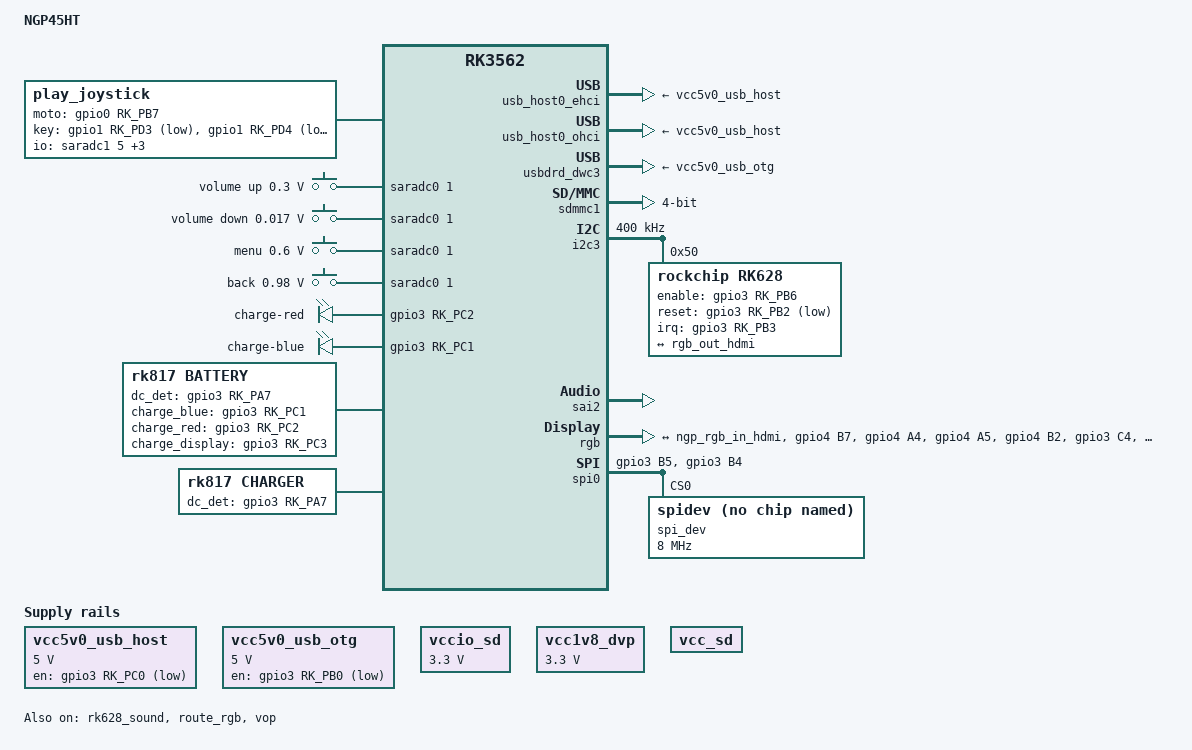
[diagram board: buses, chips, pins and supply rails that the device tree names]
// SPDX-License-Identifier: (GPL-2.0+ OR MIT)
/*
 * dArkOS for the NGP45HT — Rockchip RK3562 handheld
 *
 * Same SoC, same RK3562 EVB1 LP4X ancestry and the same byte-identical DSI
 * panel init sequence as the AISLPC RG43H Pro, so this file is modelled on
 * rk3562-rg43h.dts.  Differences that matter, all measured from the stock
 * firmware's live device tree:
 *
 *   - Panel timing is 1024x768 @ ~60 Hz (RG43H Pro runs ~70 Hz).
 *   - Controls: 17 GPIO buttons and sticks on &saradc1 in4..in7.  There are
 *     no analog L2/R2 and no ADC-button ladder, unlike the RG43H Pro.
 *   - Rumble is one EMA on &gpio0 RK_PB7 (RG43H Pro has two on &gpio3).
 *   - Headphone detect is &gpio0 RK_PA6 and the amplifier enable is the
 *     codec's own spk-ctl on &gpio0 RK_PA7.
 *   - WiFi is an AIC8800DC on USB, not on SDIO, so the sdmmc1 / sdio_pwrseq /
 *     wireless_wlan nodes from the shared dtsi are switched off.  Several of
 *     those pins are gamepad buttons on this board.
 *   - SD card power is an always-on rail; there is no vcc_sd GPIO.
 */

/dts-v1/;

#include <dt-bindings/input/input.h>
#include <dt-bindings/gpio/gpio.h>
#include <dt-bindings/pinctrl/rockchip.h>

#include "rk3562.dtsi"
#include "rk3562-linux.dtsi"
#include "rk3562-rk817.dtsi"
#include "rk3562-darkos.dtsi"

/ {
	model = "NGP45HT";
	compatible = "ngp45ht", "rockchip,rk3562";

	/*
	 * Node name must stay exactly "play_joystick": /usr/local/bin/buttonmon.sh
	 * resolves the event device through
	 * /dev/input/by-path/platform-play_joystick-event-joystick, which is built
	 * from this node's name.  Hyphenating it silently leaves buttonmon pointed
	 * at the wrong event node.
	 */
	play_joystick {
		compatible = "play_joystick";
		joysticks_numbers = <2>;

		/* Measured on this board, holding one stick to a single stop
	 * and reading saradc1: left stick left = ch5 at the rail, left stick
	 * up = ch4 at the rail, right stick left = ch7 at the rail.  So the
	 * X pot of each stick is on the higher channel number, the opposite
	 * of what the vendor DTB claims (it names ch4 "LX", ch6 "RX").
	 * Both X pots also run the other way round: full left is the low
	 * rail, which the driver maps to a positive axis value, hence
	 * invert-x / invert-rx.  Order below is LX, LY, RX, RY to match
	 * stick_chan_names[] = button0..button3. */
		io-channels = <&saradc1 5>, <&saradc1 4>,
			      <&saradc1 7>, <&saradc1 6>;
		io-channel-names = "button0", "button1",
				   "button2", "button3";
		invert-x;
		invert-rx;

		axis-min-value-mv = <250>;
		axis-max-value-mv = <1550>;
		axis-dead-zone-l = <790>;
		axis-dead-zone-h = <1010>;
		axis-division-value = <60>;
		poll-interval = <30>;
		debounce-interval = <100>;

		pinctrl-names = "default";
		pinctrl-0 = <&ngp_gpio_key_pin &ngp_moto_gpio>;
		moto-gpio = <&gpio0 RK_PB7 GPIO_ACTIVE_HIGH>;

		gpio-key-num = <17>;
		key-gpios = <&gpio1 RK_PD3 GPIO_ACTIVE_LOW>,
			    <&gpio1 RK_PD4 GPIO_ACTIVE_LOW>,
			    <&gpio1 RK_PD1 GPIO_ACTIVE_LOW>,
			    <&gpio1 RK_PD2 GPIO_ACTIVE_LOW>,
			    <&gpio0 RK_PC3 GPIO_ACTIVE_LOW>,
			    <&gpio0 RK_PC5 GPIO_ACTIVE_LOW>,
			    <&gpio2 RK_PA0 GPIO_ACTIVE_LOW>,
			    <&gpio2 RK_PA1 GPIO_ACTIVE_LOW>,
			    <&gpio0 RK_PB5 GPIO_ACTIVE_LOW>,
			    <&gpio0 RK_PB6 GPIO_ACTIVE_LOW>,
			    <&gpio0 RK_PB3 GPIO_ACTIVE_LOW>,
			    <&gpio0 RK_PB4 GPIO_ACTIVE_LOW>,
			    <&gpio0 RK_PA5 GPIO_ACTIVE_LOW>,
			    <&gpio3 RK_PA6 GPIO_ACTIVE_LOW>,
			    <&gpio1 RK_PC7 GPIO_ACTIVE_LOW>,
			    <&gpio0 RK_PC6 GPIO_ACTIVE_LOW>,
			    <&gpio0 RK_PC7 GPIO_ACTIVE_LOW>;

		/*
		 * One code per key-gpios entry, in the same order.
		 *
		 * Taken from ROCKNIX's rk3562-ngp45h.dts (AveyondFly/
		 * distribution_rocknix), whose sw1..sw17 list the same 17 GPIOs
		 * in the same order as the vendor micro-gamepad node.  That file
		 * labels its own map "temporary -- verify every GPIO and remap on
		 * the device", so treat this as the best available prior, not as
		 * confirmed.  Only the values below need changing if a button
		 * lands in the wrong slot; rebuilding the DTB takes seconds.
		 */
		key-gpios-map = <BTN_TR BTN_TR2 BTN_TL BTN_TL2
				 BTN_EAST BTN_SOUTH BTN_NORTH BTN_WEST
				 BTN_DPAD_LEFT BTN_DPAD_RIGHT BTN_DPAD_UP
				 BTN_DPAD_DOWN BTN_SELECT BTN_START BTN_MODE
				 BTN_THUMBL BTN_THUMBR>;
	};

	/*
	 * The shared dtsi carries no USB 5V rails, but on this board both USB
	 * ports are switched by RK817-era GPIOs, and the internal AIC8800DC
	 * hangs off the USB2 host bus -- without the host rail enabled nothing
	 * on that bus can enumerate, no matter which driver is loaded.
	 *
	 * Polarity comes from the stock firmware's live tree: the host rail's
	 * line idles high and is asserted low, so ask for an ACTIVE_LOW
	 * descriptor rather than relying on regulator-fixed's
	 * enable-active-high/low property, which only sets the initial level.
	 */
	vcc5v0_usb_host: vcc5v0-usb-host {
		compatible = "regulator-fixed";
		regulator-name = "vcc5v0_usb_host";
		regulator-min-microvolt = <5000000>;
		regulator-max-microvolt = <5000000>;
		regulator-always-on;
		regulator-boot-on;
		gpios = <&gpio3 RK_PC0 GPIO_ACTIVE_LOW>;
		pinctrl-names = "default";
		pinctrl-0 = <&usb_host_pwren>;
	};

	vcc5v0_usb_otg: vcc5v0-usb-otg {
		compatible = "regulator-fixed";
		regulator-name = "vcc5v0_usb_otg";
		regulator-min-microvolt = <5000000>;
		regulator-max-microvolt = <5000000>;
		gpios = <&gpio3 RK_PB0 GPIO_ACTIVE_HIGH>;
		pinctrl-names = "default";
		pinctrl-0 = <&usb_otg_pwren>;
	};

	/*
	 * The shared dtsi's adc_keys ladder does not match this board, which
	 * has four keys on one SARADC input.  Disabled below and re-created
	 * here with the stock thresholds and codes.
	 */
	ngp_adc_keys: adc-keys-ngp {
		compatible = "adc-keys";
		io-channels = <&saradc0 1>;
		io-channel-names = "buttons";
		keyup-threshold-microvolt = <1800000>;
		poll-interval = <100>;

		/*
		 * 这是同一根 ADC 线上的电阻梯。阈值越小离 GND 越近，
		 * 而按键在梯子上的顺序是固定的（硬件焊死的），所以
		 * 「哪个阈值对应哪个键」必须照原厂 EmuELEC 的 DTS 抄，
		 * 猜错就会 VOLUME_UP 与 VOLUME_DOWN 对调。
		 *
		 * EE 的值：vol-up 300000 / vol-down 17000。
		 * 我们之前写成 vol-up 17000 / vol-down 300000 —— 正好反了，
		 * 表现为「按加号变小声、按减号变大声」。
		 *
		 * EE:
		 *   vol-up-key   = 0x493e0 = 300000
		 *   vol-down-key = 0x04268 =  17000
		 */
		vol-up-key {
			label = "volume up";
			linux,code = <KEY_VOLUMEUP>;
			press-threshold-microvolt = <300000>;
		};

		vol-down-key {
			label = "volume down";
			linux,code = <KEY_VOLUMEDOWN>;
			press-threshold-microvolt = <17000>;
		};

		/*
		 * menu-key 发的是 KEY_MUTE(113)，不是 KEY_MENU(139)。
		 * 原厂也是 KEY_MUTE（0x71），adc-keys.kl 里再翻译成 MENU。
		 * 名字虽叫 "menu"，物理上就是机身那颗 M 键。
		 */
		menu-key {
			label = "menu";
			linux,code = <KEY_MUTE>;
			press-threshold-microvolt = <600000>;
		};

		/*
		 * back-key 发 KEY_ESC(1)，adc-keys.kl 里翻译成 BACK。
		 * 物理上是机身那颗返回键。
		 */
		back-key {
			label = "back";
			linux,code = <KEY_ESC>;
			press-threshold-microvolt = <980000>;
		};
	};

	/*
	 * 机身状态指示灯 —— 交给内核 leds-gpio 驱动管理。
	 *
	 * 为什么要在 DTS 里显式建节点，而不是让 rk817 硬件自己亮：
	 *   5.10 的 rk817 驱动完全不碰这三根脚，芯片里也没有"充电点灯"
	 *   的硬件状态机。所以灯到底亮不亮，完全取决于引脚电平由谁负责：
	 *     - 没人管 + 浮空       -> 灯不亮（删掉 pinctrl 后的表现）
	 *     - pinctrl 上拉        -> 灯常亮，息屏也亮（最初的表现）
	 *   两者都不对。正确做法是把控制权明确交给 leds-gpio，再由用户态
	 *   /vendor/bin/ngp-powerled 按充电状态点亮对应的那一颗。
	 *
	 * 默认状态 default-state = "off"：开机一瞬间到用户态接管之前，
	 * 灯是灭的，不会闪一下。
	 *
	 * GPIO_ACTIVE_HIGH：实测高电平点亮（gpio 直接拉电平验证过）。
	 * label 用 charge-red / charge-blue，用户态按名字找，别改成别的。
	 */
	ngp_status_led: ngp-status-led {
		compatible = "gpio-leds";

		charge-red {
			label = "charge-red";
			gpios = <&gpio3 RK_PC2 GPIO_ACTIVE_HIGH>;
			default-state = "off";
			linux,default-trigger = "none";
		};

		charge-blue {
			label = "charge-blue";
			gpios = <&gpio3 RK_PC1 GPIO_ACTIVE_HIGH>;
			default-state = "off";
			linux,default-trigger = "none";
		};
	};
};

/*
 * vccio_sd (RK817 LDO_REG5, 1.8-3.3 V) is the signalling rail for BOTH card
 * slots.  Leaving it variable while TF2 asks for 3.3 V lets the MMC core raise
 * the rail out from under TF1, which runs the root filesystem -- that hangs
 * boot as soon as TF2 probes.  Pin it to 3.3 V and take UHS off both slots so
 * the rail never switches.  High-speed 50 MHz is ample for ROM loading.
 */
&vccio_sd {
	regulator-min-microvolt = <3300000>;
	regulator-max-microvolt = <3300000>;
};

/*
 * Named vcc1v8_dvp here but 3.3 V always-on in the vendor tree -- the only rail
 * the two device trees disagree about, and the pads that read dead under dArkOS
 * (GPIO1_C1 upward, GPIO2_A) sit downstream of it.  Follow the vendor.
 */
&vcc1v8_dvp {
	regulator-min-microvolt = <3300000>;
	regulator-max-microvolt = <3300000>;
	regulator-always-on;
	regulator-boot-on;
};

&sdmmc0 {
	/delete-property/ sd-uhs-sdr104;
	max-frequency = <50000000>;
};

/* ---- USB ---------------------------------------------------------------- */

/*
 * The shared dtsi leaves the USB2 host controller off because the AISLPC
 * boards have nothing on it.  This board puts both the external USB port and
 * the on-board AIC8800DC on it, so it has to come back on.
 */
&usb_host0_ehci {
	status = "okay";
};

&usb_host0_ohci {
	status = "okay";
};

&u2phy_host {
	vbus-supply = <&vcc5v0_usb_host>;
};

&usb_host0_ehci {
	vbus-supply = <&vcc5v0_usb_host>;
};

&usb_host0_ohci {
	vbus-supply = <&vcc5v0_usb_host>;
};

&usbdrd_dwc3 {
	vbus-supply = <&vcc5v0_usb_otg>;
};

/* ---- Display ------------------------------------------------------------- */

/*
 * LCD power.  The shared dtsi leaves vcc3v3_lcd_n as a regulator-boot-on
 * skeleton on the same GPIO0_B0 line the panel needs.  Claiming that line with
 * the panel's enable-gpios instead (as rk3562-rg43h.dts does) leaves the
 * regulator with no consumer, and the regulator core turns it off during
 * late init -- which kills the panel ~40 s into boot.  Hand the line to the
 * regulator and let the panel hold it via power-supply, the way
 * rk3562-rg52mini.dts does.
 */
&vcc3v3_lcd_n {
	gpios = <&gpio0 RK_PB0 GPIO_ACTIVE_HIGH>;
	enable-active-high;
	pinctrl-names = "default";
	pinctrl-0 = <&ngp_lcd_pwren>;
	status = "okay";
};

&dsi_panel {
	pinctrl-names = "default";
	pinctrl-0 = <&lcd_rst_gpio>;
	power-supply = <&vcc3v3_lcd_n>;

	/* Stock delays: reset/enable 100 ms, init 120 ms, prepare 20 ms. */
	enable-delay-ms = <100>;
	reset-delay-ms = <100>;
	init-delay-ms = <120>;
	prepare-delay-ms = <20>;
	unprepare-delay-ms = <20>;
	disable-delay-ms = <20>;

	panel-init-sequence = [
		15 00 02 ee 01
		15 00 02 ea 07
		15 00 02 eb 12
		15 00 02 0a 5e
		15 00 02 13 14
		15 00 02 17 35
		15 00 02 1d 33
		15 00 02 21 01
		15 00 02 28 28
		15 00 02 29 18
		15 00 02 2a 63
		15 00 02 2f f3
		15 00 02 ee 02
		15 00 02 39 a9
		15 00 02 00 00
		15 00 02 01 0d
		15 00 02 02 12
		15 00 02 03 08
		15 00 02 04 0e
		15 00 02 05 30
		15 00 02 06 0b
		15 00 02 07 0e
		15 00 02 08 0f
		15 00 02 09 0e
		15 00 02 0a 11
		15 00 02 0b 4e
		15 00 02 0c 14
		15 00 02 0d 1a
		15 00 02 0e 2f
		15 00 02 0f 36
		15 00 02 10 3f
		15 00 02 20 00
		15 00 02 21 0d
		15 00 02 22 12
		15 00 02 23 08
		15 00 02 24 0e
		15 00 02 25 30
		15 00 02 26 0b
		15 00 02 27 0e
		15 00 02 28 0f
		15 00 02 29 0e
		15 00 02 2a 11
		15 00 02 2b 4e
		15 00 02 2c 14
		15 00 02 2d 1a
		15 00 02 2e 2f
		15 00 02 2f 36
		15 00 02 30 3f
		15 00 02 ee 04
		15 00 02 00 05
		15 00 02 01 01
		15 00 02 02 80
		15 00 02 03 04
		15 00 02 04 00
		15 00 02 06 06
		15 00 02 07 05
		15 00 02 08 1a
		15 00 02 09 20
		15 00 02 0a 0e
		15 00 02 0b 00
		15 00 02 20 40
		15 00 02 24 08
		15 00 02 ee 05
		15 00 02 00 01
		15 00 02 01 09
		15 00 02 02 05
		15 00 02 03 05
		15 00 02 07 05
		15 00 02 08 0d
		15 00 02 09 00
		15 00 02 0a 12
		15 00 02 0b 14
		15 00 02 0c 66
		15 00 02 10 03
		15 00 02 11 07
		15 00 02 12 05
		15 00 02 13 05
		15 00 02 19 12
		15 00 02 1a f6
		15 00 02 40 55
		15 00 02 41 00
		15 00 02 43 03
		15 00 02 44 01
		15 00 02 45 81
		15 00 02 46 06
		15 00 02 47 00
		15 00 02 ee 06
		15 00 02 00 45
		15 00 02 02 01
		15 00 02 04 88
		15 00 02 06 cd
		15 00 02 08 ef
		15 00 02 09 cd
		15 00 02 0a ab
		15 00 02 0b 89
		15 00 02 0c 67
		15 00 02 0d 45
		15 00 02 0e 23
		15 00 02 0f 01
		15 00 02 ee 07
		15 00 02 00 3c
		15 00 02 01 3c
		15 00 02 02 3c
		15 00 02 03 3c
		15 00 02 04 0d
		15 00 02 05 3c
		15 00 02 06 3c
		15 00 02 07 3c
		15 00 02 08 08
		15 00 02 09 10
		15 00 02 0a 12
		15 00 02 0b 14
		15 00 02 0c 16
		15 00 02 0d 18
		15 00 02 0e 1a
		15 00 02 0f 1c
		15 00 02 10 1e
		15 00 02 11 04
		15 00 02 12 00
		15 00 02 13 3c
		15 00 02 14 0c
		15 00 02 15 3c
		15 00 02 20 3c
		15 00 02 21 3c
		15 00 02 22 3c
		15 00 02 23 3c
		15 00 02 24 0d
		15 00 02 25 3c
		15 00 02 26 3c
		15 00 02 27 3c
		15 00 02 28 08
		15 00 02 29 11
		15 00 02 2a 13
		15 00 02 2b 15
		15 00 02 2c 17
		15 00 02 2d 19
		15 00 02 2e 1b
		15 00 02 2f 1d
		15 00 02 30 1f
		15 00 02 31 05
		15 00 02 32 01
		15 00 02 33 3c
		15 00 02 34 0c
		15 00 02 35 3c
		15 00 02 ee 08
		15 00 02 10 00
		15 00 02 12 dc
		15 00 02 13 1c
		15 00 02 17 23
		15 00 02 18 20
		15 00 02 20 80
		15 00 02 ee 0f
		15 00 02 00 01
		15 00 02 01 00
		15 00 02 ee 00
		15 00 02 ea 00
		15 00 02 eb 00
		15 00 02 36 00
		05 c8 01 11
		05 14 01 29
	];
};

/* 1024x768 at ~60 Hz, taken from the stock timing0 node. */
&dsi_timing0 {
	clock-frequency = <52134144>;
	hactive = <1024>;
	vactive = <768>;
	hfront-porch = <32>;
	hsync-len = <20>;
	hback-porch = <20>;
	vfront-porch = <8>;
	vsync-len = <4>;
	vback-porch = <6>;
	hsync-active = <0>;
	vsync-active = <0>;
	de-active = <0>;
	pixelclk-active = <0>;
};

/* ---- Audio --------------------------------------------------------------- */

/* Amplifier enable is the codec's own pin on this board. */
&rk817_codec {
	use-ext-amplifier;
	spk-ctl-gpios = <&gpio0 RK_PA7 GPIO_ACTIVE_HIGH>;
	hp-volume = <15>;
	spk-volume = <6>;
};

/* Headphone detect moved from RK_PA7 (shared default) to RK_PA6. */
&rk817_sound {
	hp-det-gpio = <&gpio0 RK_PA6 GPIO_ACTIVE_HIGH>;
	pinctrl-0 = <&hp_det>;
	/delete-property/ spk-con-gpios;

	/*
	 * The shared dtsi polls SARADC0 input 4 as a headphone/insertion
	 * detector and hangs a play-pause key off it at a 2 mV threshold.  This
	 * board leaves that input unconnected, so the floating reading reports
	 * phantom KEY_PLAYPAUSE events; drop the whole ladder.
	 */
	/delete-property/ io-channels;
	/delete-property/ io-channel-names;
	/delete-property/ keyup-threshold-microvolt;
	/delete-property/ poll-interval;
	/delete-node/ play-pause-key;
};

/* ---- Power, battery and charge indication ------------------------------- */

&rk817 {
	battery {
		compatible = "rk817,battery";
		/*
		 * 21-point OCV table in mV, from the vendor tree.  Monotonic by
		 * construction -- rk817_bat_vol_to_soc() walks it with a binary
		 * search, so a non-sorted table silently returns wrong SoC.
		 */
		ocv_table = <3500 3539 3608 3694 3767 3806 3829 3844 3856 3863 3869 3882 3930 4003 4010 4023 4033 4045 4059 4070 4171>;
		design_capacity = <3791>;
		design_qmax = <4000>;
		design_max_voltage = <4120>;
		sleep_enter_current = <150>;
		sleep_exit_current = <180>;
		sleep_filter_current = <100>;
		power_off_thresd = <3450>;
		zero_algorithm_vol = <3950>;
		max_soc_offset = <60>;
		monitor_sec = <5>;

		/*
		 * sample_res is the current-sense resistor value in 10 mOhm
		 * units: 10 => 100 mOhm.  Getting this wrong scales current_now
		 * (and therefore everything derived from it) by 2x or 0.5x.
		 */
		sample_res = <10>;

		/*
		 * bat_res: 电池内阻，单位 mOhm，直接参与 SoC 换算：
		 *     ocv_voltage = voltage_avg - (current_avg * bat_res) / 1000
		 * 驱动拿它把带载的端电压回算成开路电压，再去查 ocv_table。
		 *
		 * 缺这一项时驱动回落到 DEFAULT_BAT_RES = 135 mOhm。本机典型
		 * 放电电流约 480 mA，135 与 127 差 8 mOhm 只值 ~4 mV，不大；
		 * 真正的问题在 next 一条注释里说的 SoC 归零算法。
		 *
		 * 127 取自原厂 EmuELEC 的 rk3562-ngp45ht.dtb（0x7f）。
		 * 之前自估的 80 已按「以 EE 为准」的要求改掉。
		 */
		bat_res = <127>;

		/*
		 * energy_mode 0 = report SoC straight from the OCV lookup.
		 * Mode 1 lets the driver slow the gauge down near empty so the
		 * last few percent last longer, which trades accuracy for
		 * runtime -- wrong call for a handheld whose whole point is a
		 * trustworthy number on screen.
		 */
		energy_mode = <0>;

		/*
		 * Reserve SoC kept back once the "zero algorithm" fires, in
		 * whole percent (driver multiplies by 1000).  The vendor value
		 * for this pack is 10.
		 */
		zero_reserve_dsoc = <10>;

		/*
		 * fb_temperature is the "flat" temperature in degrees C that the
		 * driver substitutes when the NTC reads outside its valid window;
		 * 25 keeps a nonsense reading from pinning the charger.
		 */
		fb_temperature = <25>;

		virtual_power = <0>;
		dc_det_gpio = <&gpio3 RK_PA7 GPIO_ACTIVE_HIGH>;

		/*
		 * 这三个属性只是名字占位，5.10 的 rk817_battery.c /
		 * rk817_charger.c 完全不解析它们（全树 grep 过，除 DTS 外零引用），
		 * rk817 芯片本身也没有"按 CHG_STS 点灯"的硬件逻辑。
		 *
		 * 真正的驱动在下面的 ngp-status-led 节点（leds-gpio），
		 * 用户态 ngp-powerled 按充电状态去点。
		 *
		 * 历史教训（别走回头路）：
		 *   1) 早先这里挂了 pinctrl-0 = <&ngp_charge_led_gpio>，那组 pin
		 *      是 RK_FUNC_GPIO + pcfg_pull_up，等于把 C1(蓝)/C2(红) 内部
		 *      上拉。两根线被持续拉高 -> 状态灯一直亮，息屏也不灭。
		 *      这就是「电源灯充电灯长期亮着」的直接原因。
		 *   2) 把 pinctrl 整组删掉之后走另一个极端：引脚浮空、无人驱动，
		 *      充电中红灯也不亮（2026-11-04 实测确认）。
		 *
		 * 实测引脚语义（syskbd gpio 直接拉电平验证）：
		 *   GPIO3_C1 (gpio-113) 高电平 -> 蓝灯亮
		 *   GPIO3_C2 (gpio-114) 高电平 -> 红灯亮
		 *   GPIO3_C3 (gpio-115) 无可见效果（未贴片或另有用途）
		 */
		charge_blue_gpio = <&gpio3 RK_PC1 GPIO_ACTIVE_HIGH>;
		charge_red_gpio = <&gpio3 RK_PC2 GPIO_ACTIVE_HIGH>;
		charge_display_gpio = <&gpio3 RK_PC3 GPIO_ACTIVE_HIGH>;
	};

	charger {
		compatible = "rk817,charger";

		/*
		 * 下面四个数值和原厂 EmuELEC 的 DTS 完全一致：
		 *   4500 = 0x1194  min_input_voltage
		 *   2500 = 0x09c4  max_input_current / max_chrg_current
		 *   4350 = 0x10fe  max_chrg_voltage
		 *    300 = 0x012c  chrg_finish_cur
		 * 改之前请先对一遍 EE 那份，别凭手感调。
		 */
		min_input_voltage = <4500>;
		max_input_current = <2500>;
		max_chrg_current = <2500>;
		max_chrg_voltage = <4350>;
		chrg_term_mode = <0>;
		chrg_finish_cur = <300>;
		virtual_power = <0>;

		/*
		 * sample_res / power_dc2otg / otg5v_suspend_enable 这三项 EE
		 * 没写，但驱动在缺项时会：
		 *   sample_res        -> SAMPLE_RES_10MR (10)   与这里同值
		 *   power_dc2otg      -> 0                     与这里同值
		 *   otg5v_suspend_enable -> 1                   与这里同值
		 * 即行为等价。保留显式声明，只为避免 DTS 缺项时驱动打 dev_err
		 * 把启动日志刷花。
		 */

		/* Same 10 x 10 mOhm sense resistor as the battery gauge. */
		sample_res = <10>;

		/*
		 * power_dc2otg: 0.  When set, the DC input path is allowed to
		 * feed the OTG 5 V rail while USB is in host mode.  This board
		 * powers its OTG port from a dedicated vcc5v0-usb-otg switch, so
		 * letting the charger duplicate that would fight the regulator.
		 */
		power_dc2otg = <0>;

		dc_det_adc = <0>;
		dc_det_gpio = <&gpio3 RK_PA7 GPIO_ACTIVE_HIGH>;
		otg5v_suspend_enable = <1>;
		extcon = <&u2phy>;
		gate_function_disable = <1>;
	};
};

&charge_anim {
	rockchip,uboot-low-power-voltage = <3350>;
	rockchip,screen-on-voltage = <3400>;
};

/* ---- Bring-up of peripherals this board does not have on those pins ----- */

/* Four-key SARADC ladder replaces the shared dtsi's two-key one. */
&adc_keys {
	status = "disabled";
};

/*
 * WiFi is USB-attached, so the SDIO WiFi stack from the shared dtsi must not
 * claim PB3 (a gamepad button here), PB4 (button), PA6 (headphone detect) or
 * sdmmc1.
 */
/*
 * Second TF slot.  sdmmc1 (ff890000) is wired to a removable card on this
 * board, not to an SDIO WiFi combo module -- the wireless chip is the USB
 * AIC8800DC -- so it becomes /dev/mmcblk2, which is exactly the node
 * /usr/local/bin/Switch to SD2 for Roms.sh expects on non-RK3326 hardware.
 *
 * Pin set taken from the vendor tree: bus4 = GPIO1_C1..C4, cmd = C5,
 * clk = C6, det = PD0, matching the kernel's plain sdmmc1_* groups.
 *
 * UHS is deliberately not requested.  Both slots share one I/O rail
 * (vccio_sd / RK817 LDO_REG5), so it cannot be switched to 1.8 V for one card
 * while the other stays at 3.3 V; the vendor DT's sd-uhs-sdr104 looks
 * inherited from the EVB reference.  High-speed 50 MHz is plenty for ROMs.
 *
 * Card detect: this slot's CDETECT pad reads "absent" even with a 128 GiB
 * card inserted, so broken-cd is kept to make the core poll at all.
 *
 * SD2 does not come up on this port and the reason is not in this node.
 * Measured: with the node reduced to exactly the vendor's working one --
 * same vqmmc (LDO_REG5), same bus4/cmd/clk/det groups (confirmed in
 * pinmux-pins), same clocks/resets, sd-uhs-sdr104 and the 200 MHz ceiling
 * -- the host still runs the 400/300/200/100 kHz probe ladder and gets no
 * OCR response, while stock EmuELEC on kernel 6.1 reads the same card as
 * "mmc2: new high speed SDXC".  UHS stays off here because vccio_sd is
 * shared with TF1, which hosts the root filesystem.
 */
&sdmmc1 {
	/delete-property/ no-sd;
	/delete-property/ mmc-pwrseq;
	/delete-property/ cap-sdio-irq;
	/delete-property/ keep-power-in-suspend;
	/delete-property/ supports-sdio;
	/delete-property/ supports-rk912;
	/delete-property/ sd-uhs-sdr104;

	no-sdio;
	no-mmc;
	bus-width = <4>;
	cap-sd-highspeed;
	cap-mmc-highspeed;
	disable-wp;
	broken-cd;
	max-frequency = <50000000>;
	vqmmc-supply = <&vccio_sd>;
	pinctrl-names = "default";
	pinctrl-0 = <&sdmmc1_bus4 &sdmmc1_cmd &sdmmc1_clk &sdmmc1_det>;
	status = "okay";
};

&sdio_pwrseq {
	status = "disabled";
};

&wireless_wlan {
	status = "disabled";
};

/*
 * The stick-LED MCU UART would take PD2, which is a gamepad button.
 *
 * This board's RGB rings are NOT on UART1 -- they are WS2812 chains on SPI0
 * (see &spi0 at the bottom of this file).  The RG52 Mini / RG43H Pro use a
 * byte-oriented MCU on uart1 instead; copying that over to this board was
 * wrong and produced a dead port plus a stolen button.  Keep it off.
 */
&uart1 {
	status = "disabled";
};

/* ---- HDMI out: RK628D RGB-to-HDMI bridge on i2c3 ---------------------- *
 *
 * This board does have a physical HDMI socket, but RK3562 has no native
 * HDMI transmitter (rk3562.dtsi contains no dw-hdmi node, and the VOP only
 * exposes vp0 -> rgb / dsi / lvds).  What the socket is wired to is an
 * RK628D bridge: VOP -> parallel RGB -> RK628D -> HDMI.
 *
 * The shared rk3562-darkos.dtsi puts that bridge on i2c4 at 0x50, which is
 * where the RG52 Mini / RG43H Pro have it.  On this board it is on i2c3
 * instead: i2cdetect on the running system shows i2c-4 completely empty
 * while the stock firmware's own device tree names
 * "/i2c@ffa20000/rk628@50" (i2c3 = 0xffa20000).  Everything below is taken
 * from that stock tree, converted out of its phandle form:
 *
 *   enable-gpios  = <&gpio3 14 0>  -> GPIO3_B6, active high
 *   reset-gpios   = <&gpio3 10 1>  -> GPIO3_B2, active low
 *   interrupts    = <11 4> on gpio3-> GPIO3_B3, level high
 *   pinctrl-0     = rk628-reset (gpio3 B2) + refclk-pins (gpio0 A0 func1)
 *
 * None of these three lines collide with anything else here: the 17 gamepad
 * buttons use gpio1 D1..D4/C7, gpio2 A0/A1, gpio0 A5/B3..B7/C3/C5..C7 and
 * gpio3 A6; USB host 5V is gpio3 C0 / B0.  The charging LEDs are gpio3
 * A7 (dc_det), C1 (blue), C2 (red) and C3 (display) and match the stock
 * tree exactly, so they are not in the way either.
 *
 * Note the shared dtsi's own values (gpio3 C0 enable / C1 reset / C2 irq)
 * are wrong for this board -- C1 is the blue charge LED and C2 the red one.
 */
&i2c3 {
	status = "okay";
	clock-frequency = <400000>;

	rk628: rk628@50 {
		status = "okay";
		compatible = "rockchip,rk628";
		reg = <0x50>;
		#sound-dai-cells = <0>;
		interrupt-parent = <&gpio3>;
		interrupts = <RK_PB3 IRQ_TYPE_LEVEL_HIGH>;
		enable-gpios = <&gpio3 RK_PB6 GPIO_ACTIVE_HIGH>;
		reset-gpios = <&gpio3 RK_PB2 GPIO_ACTIVE_LOW>;
		pinctrl-names = "default";
		pinctrl-0 = <&ngp_rk628_reset &ngp_rk628_refclk>;
		assigned-clocks = <&cru CLK_PMU1_WIFI>;
		assigned-clock-rates = <24000000>;
		clocks = <&cru CLK_PMU1_WIFI>;
		clock-names = "soc_24M";
		mode-sync-pol = <0>;
		rk628-rgb-in;
		rk628-hdmi-out;

		port {
			/*
			 * Cannot reuse the dtsi's "rgb_in_hdmi" label: that one
			 * still exists on the (now disabled) i2c4 node and DTC
			 * rejects duplicate labels.  The RGB side below is
			 * patched by absolute path instead, and the dtsi's i2c4
			 * node is disabled so nothing else points at it.
			 */
			ngp_rgb_in_hdmi: endpoint {
				remote-endpoint = <&rgb_out_hdmi>;
			};
		};
	};
};

/* The dtsi's rk628 node on i2c4 must not probe: on this board i2c4 is bare,
 * and its GPIO assignments would fight the charge LEDs. */
&i2c4_rk628 {
	status = "disabled";
};

/*
 * Disable the i2c4 controller itself, not just the bridge underneath it.
 * i2c4m0-xfer claims GPIO3_B6/GPIO3_B7 as its SDA/SCL, and GPIO3_B6 is the
 * RK628 enable line.  Leaving the bus enabled leaves those pins muxed to i2c
 * and the bridge never gets powered -- identical symptom to a board fault.
 */
&i2c4 {
	status = "disabled";
};

/*
 * HDMI audio: SAI2 -> RK628 over I2S.  The card node itself (rk628_sound)
 * comes from the shared dtsi and points at &i2c4_rk628, which is disabled
 * here, so retarget the codec at the live node on i2c3.
 *
 * The CPU DAI has to be brought up separately, and it is SAI2 (ff820000),
 * not SAI1 -- the stock firmware also leaves SAI1 disabled.  Everything
 * that touches &sai2 belongs in one place because the pin list matters:
 * the dtsi's default pinctrl-0 also claims i2s2m0_sdi on GPIO2_A0, and on
 * this board GPIO2_A0 is a gamepad button.  HDMI only carries audio out, so
 * drop SDI and keep LRCK / SCLK / SDO -- same three groups the stock DTB
 * uses (GPIO1_D6, GPIO1_D5, GPIO1_D7).
 */
&sai2 {
	status = "okay";
	pinctrl-names = "default";
	pinctrl-0 = <&i2s2m0_lrck &i2s2m0_sclk &i2s2m0_sdo>;
};

&rk628_sound {
	status = "okay";

	/*
	 * The dtsi hard-codes &sai1 as the CPU DAI, but SAI1 is disabled on this
	 * board (the stock firmware leaves it disabled too), so the card never
	 * binds and /proc/asound/cards stays empty with no error in the log.
	 * The bridge is wired to SAI2 instead.
	 */
	simple-audio-card,cpu {
		sound-dai = <&sai2>;
	};

	simple-audio-card,codec {
		sound-dai = <&rk628>;
	};
};

/*
 * Parallel RGB output that feeds the bridge.
 *
 * The 24-bit RGB bus plus the sync/clock lines must be muxed to their VO
 * alternate function, otherwise the pins stay on their GPIO default and the
 * bridge sees no signal at all -- which looks exactly like "the chip is not
 * powered", because rk628_probe() then cannot reach the HDMI register window.
 * Pin list is the one the stock firmware uses (pinctrl "vo-pins").
 */
&rgb {
	status = "okay";
	pinctrl-names = "default";
	pinctrl-0 = <&ngp_vo_pins>;

	ports {
		port@0 {
			rgb_in_vp0: endpoint@0 {
				status = "okay";
			};
		};

		port@1 {
			rgb_out_hdmi: endpoint {
				remote-endpoint = <&ngp_rgb_in_hdmi>;
			};
		};
	};
};

&route_rgb {
	status = "okay";
	connect = <&vp0_out_rgb>;
};

&vop {
	status = "okay";
};

&vop_mmu {
	status = "okay";
};

/*
 * SD-card power is a fixed rail on this board.  The shared dtsi drives it
 * from GPIO0_A5, which is a gamepad button here, so make the regulator
 * always-on and drop its GPIO.  Likewise the LED rail's GPIO0_C7 is a button.
 */
&vcc_sd {
	compatible = "regulator-fixed";
	regulator-always-on;
	regulator-boot-on;
	/delete-property/ gpios;
	/delete-property/ enable-active-low;
	/delete-property/ states;
	/delete-property/ pinctrl-0;
	/delete-property/ pinctrl-names;
};

/*
 * The stick-LED rail is gated by GPIO0_C7 on the AISLPC boards, which is a
 * gamepad button here, so the rail goes away entirely rather than being
 * re-parented.
 */
&led_vcc {
	status = "disabled";
	/delete-property/ gpios;
	/delete-property/ enable-active-high;
	/delete-property/ pinctrl-0;
	/delete-property/ pinctrl-names;
};

/* ---- Pin control -------------------------------------------------------- */

&pinctrl {
	/*
	 * RK628D HDMI bridge pins, straight from the stock tree's own rk628
	 * pinctrl group: reset on GPIO3_B2 (func0 = GPIO), and a 24 MHz
	 * reference clock generated on GPIO0_A0 (func1 = CLK_PMU1_WIFI).
	 * The enable line GPIO3_B6 needs no pinmux entry, it is plain GPIO.
	 */
	rk628 {
		ngp_rk628_reset: ngp-rk628-reset {
			rockchip,pins = <3 RK_PB2 RK_FUNC_GPIO &pcfg_pull_none>;
		};

		ngp_rk628_refclk: ngp-rk628-refclk {
			rockchip,pins = <0 RK_PA0 1 &pcfg_pull_none>;
		};
	};

	/*
	 * VO (video output) pinmux for the parallel RGB bus feeding RK628D.
	 * Copied pin-for-pin from the stock firmware's "vo-pins" group -- 28
	 * entries, all function 1, no pulls.  Without this the RGB pins keep
	 * their reset default and the bridge receives nothing.
	 */
	vo {
		ngp_vo_pins: ngp-vo-pins {
			rockchip,pins =
				<4 RK_PB7 1 &pcfg_pull_none>,
				<4 RK_PA4 1 &pcfg_pull_none>,
				<4 RK_PA5 1 &pcfg_pull_none>,
				<4 RK_PB2 1 &pcfg_pull_none>,
				<3 RK_PC4 1 &pcfg_pull_none>,
				<3 RK_PC5 1 &pcfg_pull_none>,
				<3 RK_PC6 1 &pcfg_pull_none>,
				<3 RK_PC7 1 &pcfg_pull_none>,
				<3 RK_PD0 1 &pcfg_pull_none>,
				<4 RK_PA6 1 &pcfg_pull_none>,
				<4 RK_PA7 1 &pcfg_pull_none>,
				<3 RK_PD1 1 &pcfg_pull_none>,
				<3 RK_PD2 1 &pcfg_pull_none>,
				<3 RK_PD3 1 &pcfg_pull_none>,
				<3 RK_PD4 1 &pcfg_pull_none>,
				<3 RK_PD5 1 &pcfg_pull_none>,
				<3 RK_PD6 1 &pcfg_pull_none>,
				<4 RK_PB0 1 &pcfg_pull_none>,
				<4 RK_PB1 1 &pcfg_pull_none>,
				<4 RK_PB3 1 &pcfg_pull_none>,
				<3 RK_PD7 1 &pcfg_pull_none>,
				<4 RK_PA0 1 &pcfg_pull_none>,
				<4 RK_PA1 1 &pcfg_pull_none>,
				<4 RK_PA2 1 &pcfg_pull_none>,
				<4 RK_PA3 1 &pcfg_pull_none>,
				<4 RK_PB6 1 &pcfg_pull_none>,
				<4 RK_PB4 1 &pcfg_pull_none>,
				<4 RK_PB5 1 &pcfg_pull_none>;
		};
	};

	buttons {
		ngp_gpio_key_pin: ngp-gpio-key-pin {
			rockchip,pins =
				<1 RK_PD3 RK_FUNC_GPIO &pcfg_pull_up>,
				<1 RK_PD4 RK_FUNC_GPIO &pcfg_pull_up>,
				<1 RK_PD1 RK_FUNC_GPIO &pcfg_pull_up>,
				<1 RK_PD2 RK_FUNC_GPIO &pcfg_pull_up>,
				<0 RK_PC3 RK_FUNC_GPIO &pcfg_pull_up>,
				<0 RK_PC5 RK_FUNC_GPIO &pcfg_pull_up>,
				<2 RK_PA0 RK_FUNC_GPIO &pcfg_pull_up>,
				<2 RK_PA1 RK_FUNC_GPIO &pcfg_pull_up>,
				<0 RK_PB5 RK_FUNC_GPIO &pcfg_pull_up>,
				<0 RK_PB6 RK_FUNC_GPIO &pcfg_pull_up>,
				<0 RK_PB3 RK_FUNC_GPIO &pcfg_pull_up>,
				<0 RK_PB4 RK_FUNC_GPIO &pcfg_pull_up>,
				<0 RK_PA5 RK_FUNC_GPIO &pcfg_pull_up>,
				<3 RK_PA6 RK_FUNC_GPIO &pcfg_pull_up>,
				<1 RK_PC7 RK_FUNC_GPIO &pcfg_pull_up>,
				<0 RK_PC6 RK_FUNC_GPIO &pcfg_pull_up>,
				<0 RK_PC7 RK_FUNC_GPIO &pcfg_pull_up>;
		};

		ngp_moto_gpio: ngp-moto-gpio {
			rockchip,pins = <0 RK_PB7 RK_FUNC_GPIO &pcfg_pull_none>;
		};
	};

	headphone {
		/* Stock board detects headphones on RK_PA6, not RK_PA7. */
		hp_det: hp-det {
			rockchip,pins = <0 RK_PA6 RK_FUNC_GPIO &pcfg_pull_up>;
		};
	};

	/*
	 * 原来这里有一组 charge-led 的 pin 配置：
	 *
	 *     ngp_charge_led_gpio: rockchip,pins =
	 *         <3 RK_PC1 RK_FUNC_GPIO &pcfg_pull_up>,
	 *         <3 RK_PC2 RK_FUNC_GPIO &pcfg_pull_up>;
	 *
	 * 它把状态灯的两根线（C1 蓝 / C2 红）配成内部上拉，等于一直给
	 * LED 供电，于是「电源灯充电灯长期亮着，息屏也亮着」。
	 *
	 * 原厂 EmuELEC 的 DTS 里压根没有这组 pin，这些脚交给 rk817 硬件
	 * 自己按 CHG_STS 驱动即可。整组删掉，别再加回来。
	 */

	lcd {
		ngp_lcd_pwren: ngp-lcd-pwren {
			rockchip,pins = <0 RK_PB0 RK_FUNC_GPIO &pcfg_pull_up>;
		};
	};

	/*
	 * 摇杆灯（WS2812）走 SPI0，只要 MOSI + CLK 两根线。
	 * 引脚取自 AURKNIX/ROCKNIX 同款设备的 quirk（spi0m1-pins-ngp45h）：
	 * GPIO3_B5 与 GPIO3_B4。
	 *
	 * 故意不接 CS：AURKNIX 那组里的 CS 是 GPIO3_B7，而这根脚在本机同时是
	 * i2c4（板上挂 rk628 HDMI 桥）的 SDA —— spi 一抢，i2c-4 就注册不上，
	 * HDMI 直接废掉。WS2812 根本没有 CS，所以不要它。
	 */
	spi0-ngp45h {
		ngp_spi0_pins: spi0m1-pins-ngp45h {
			rockchip,pins =
				<3 RK_PB5 4 &pcfg_pull_none>,
				<3 RK_PB4 4 &pcfg_pull_none>;
		};
	};

	usb {
		usb_host_pwren: usb-host-pwren {
			rockchip,pins = <3 RK_PC0 RK_FUNC_GPIO &pcfg_pull_none>;
		};

		usb_otg_pwren: usb-otg-pwren {
			rockchip,pins = <3 RK_PB0 RK_FUNC_GPIO &pcfg_pull_none>;
		};
	};
};

/* ---- Stick RGB rings: WS2812 chains on SPI0 ----------------------------- *
 *
 * The two rings are WS2812 (not an MCU), eight LEDs per ring, driven by
 * bit-banging them onto the SPI MOSI line at 8 MHz: one SPI byte per WS2812
 * bit, 0xC0 = '0', 0xFC = '1', GRB order.  Userspace is ws2812-common from
 * ROCKNIX/AURKNIX, invoked as
 *     ws2812-common --device /dev/spidev0.0 <mode>
 * via /usr/bin/analog_sticks_ledcontrol_single, started by
 * ngp-stickled.service.  spidev is therefore mandatory, not optional: with
 * SPI0 off there is no /dev/spidev0.0 and the rings stay dark no matter what
 * userspace does.
 *
 * spi-max-frequency must stay 8000000 -- it *is* the WS2812 bit clock
 * (1 byte = 1 bit), so a different rate changes the waveform and the strips
 * either miss frames or latch garbage.
 *
 * No CS and no MISO: WS2812 has neither, and GPIO3_B7 (the CS an AURKNIX
 * quirk would use) is i2c4's SDA on this board -- SPI claiming it kills
 * i2c-4 and with it the RK628D HDMI bridge.
 */
&spi0 {
	status = "okay";
	pinctrl-names = "default";
	pinctrl-0 = <&ngp_spi0_pins>;

	spi_dev@0 {
		compatible = "rockchip,spidev";
		reg = <0>;
		spi-max-frequency = <8000000>;
	};
};
